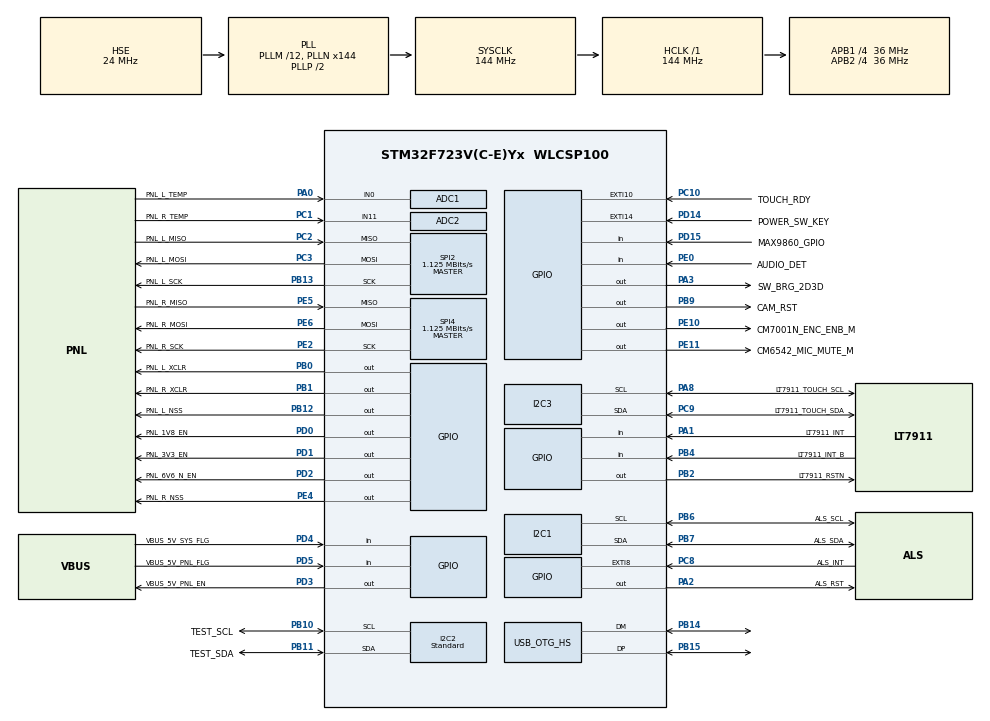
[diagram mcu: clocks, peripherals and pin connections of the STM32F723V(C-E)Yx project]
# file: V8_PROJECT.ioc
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ADC1.Channel-0\#ChannelRegularConversion=ADC_CHANNEL_0
ADC1.ClockPrescaler=ADC_CLOCK_SYNC_PCLK_DIV4
ADC1.NbrOfConversionFlag=1
ADC1.Rank-0\#ChannelRegularConversion=1
ADC1.SamplingTime-0\#ChannelRegularConversion=ADC_SAMPLETIME_3CYCLES
ADC1.master=1
ADC2.Channel-0\#ChannelRegularConversion=ADC_CHANNEL_11
ADC2.ClockPrescaler=ADC_CLOCK_SYNC_PCLK_DIV4
ADC2.NbrOfConversionFlag=1
ADC2.Rank-0\#ChannelRegularConversion=1
ADC2.SamplingTime-0\#ChannelRegularConversion=ADC_SAMPLETIME_3CYCLES
CORTEX_M7.CPU_DCache=Enabled
CORTEX_M7.CPU_ICache=Enabled
CORTEX_M7.DisableExec-Cortex_Memory_Protection_Unit_Region0_Settings=MPU_INSTRUCTION_ACCESS_DISABLE
CORTEX_M7.Enable-Cortex_Memory_Protection_Unit_Region0_Settings=MPU_REGION_ENABLE
CORTEX_M7.IsShareable-Cortex_Memory_Protection_Unit_Region0_Settings=MPU_ACCESS_SHAREABLE
CORTEX_M7.MPU_Control=MPU_HFNMI_PRIVDEF
CORTEX_M7.Size-Cortex_Memory_Protection_Unit_Region0_Settings=MPU_REGION_SIZE_4GB
CORTEX_M7.SubRegionDisable-Cortex_Memory_Protection_Unit_Region0_Settings=0x87
FREERTOS.Tasks01=defaultTask,24,512,StartDefaultTask,Default,NULL,Dynamic,NULL,NULL
FREERTOS.configENABLE_FPU=1
FREERTOS.configMINIMAL_STACK_SIZE=512
FREERTOS.configTOTAL_HEAP_SIZE=65536
FREERTOS.configUSE_NEWLIB_REENTRANT=1
FREERTOS.configUSE_POSIX_ERRNO=1
I2C1.Timing=0x00808CD2
I2C2.I2C_Speed_Mode=I2C_Standard
I2C2.Speed=100
I2C2.Timing=0x00808CD2
I2C3.Timing=0x00808CD2
Mcu.Family=STM32F7
Mcu.Name=STM32F723V(C-E)Yx
Mcu.Package=WLCSP100
NVIC.EXTI15_10_IRQn=true\:5\:0\:false\:false\:true\:true\:true\:true\:true
NVIC.EXTI9_5_IRQn=true\:5\:0\:false\:false\:true\:true\:true\:true\:true
NVIC.I2C1_EV_IRQn=true\:5\:0\:false\:false\:true\:true\:true\:true\:true
NVIC.I2C2_EV_IRQn=true\:5\:0\:false\:false\:true\:true\:true\:true\:true
NVIC.I2C3_EV_IRQn=true\:5\:0\:false\:false\:true\:true\:true\:true\:true
NVIC.OTG_HS_IRQn=true\:5\:0\:false\:false\:true\:true\:false\:true\:true
NVIC.PriorityGroup=NVIC_PRIORITYGROUP_4
NVIC.TIM1_UP_TIM10_IRQn=true\:15\:0\:false\:false\:true\:false\:false\:true\:true
NVIC.TIM8_UP_TIM13_IRQn=true\:5\:0\:false\:false\:true\:true\:true\:true\:true
NVIC.TimeBase=TIM1_UP_TIM10_IRQn
NVIC.TimeBaseIP=TIM10
PA0-WKUP.GPIO_Label=PNL_L_TEMP
PA0-WKUP.Signal=ADCx_IN0
PA1.GPIO_Label=LT7911_INT
PA1.GPIO_PuPd=GPIO_PULLDOWN
PA1.Signal=GPIO_Input
PA13.Mode=Serial_Wire
PA13.Signal=SYS_JTMS-SWDIO
PA14.Mode=Serial_Wire
PA14.Signal=SYS_JTCK-SWCLK
PA2.GPIO_Label=ALS_RST
PA2.Signal=GPIO_Output
PA3.GPIO_Label=SW_BRG_2D3D
PA3.Signal=GPIO_Output
PA8.GPIO_Label=LT7911_TOUCH_SCL
PA8.GPIO_Pu=GPIO_PULLUP
PA8.Mode=I2C
PA8.Signal=I2C3_SCL
PB0.GPIO_Label=PNL_L_XCLR
PB0.Signal=GPIO_Output
PB1.GPIO_Label=PNL_R_XCLR
PB1.Signal=GPIO_Output
PB10.GPIO_Label=TEST_SCL
PB10.GPIO_Pu=GPIO_PULLUP
PB10.Mode=I2C
PB10.Signal=I2C2_SCL
PB11.GPIO_Label=TEST_SDA
PB11.GPIO_Pu=GPIO_PULLUP
PB11.Mode=I2C
PB11.Signal=I2C2_SDA
PB12.GPIO_Label=PNL_L_NSS
PB12.GPIO_Speed=GPIO_SPEED_FREQ_VERY_HIGH
PB12.Signal=GPIO_Output
PB13.GPIO_Label=PNL_L_SCK
PB13.Mode=Full_Duplex_Master
PB13.Signal=SPI2_SCK
PB14.Mode=Internal_Phy_Device
PB14.Signal=USB_OTG_HS_DM
PB15.Mode=Internal_Phy_Device
PB15.Signal=USB_OTG_HS_DP
PB2.GPIO_Label=LT7911_RSTN
PB2.Signal=GPIO_Output
PB4.GPIO_Label=LT7911_INT_B
PB4.GPIO_PuPd=GPIO_PULLDOWN
PB4.Signal=GPIO_Input
PB6.GPIO_Label=ALS_SCL
PB6.GPIO_Pu=GPIO_PULLUP
PB6.Mode=I2C
PB6.Signal=I2C1_SCL
PB7.GPIO_Label=ALS_SDA
PB7.GPIO_Pu=GPIO_PULLUP
PB7.Mode=I2C
PB7.Signal=I2C1_SDA
PB9.GPIO_Label=CAM_RST
PB9.Signal=GPIO_Output
PC1.GPIO_Label=PNL_R_TEMP
PC1.Signal=ADCx_IN11
PC14-OSC32_IN.Mode=LSE-External-Oscillator
PC10.GPIO_Label=TOUCH_RDY
PC10.GPIO_ModeDefaultEXTI=GPIO_MODE_IT_FALLING
PC10.GPIO_PuPd=GPIO_PULLUP
PC10.Signal=GPXTI10
PC14-OSC32_IN.Signal=RCC_OSC32_IN
PC15-OSC32_OUT.Mode=LSE-External-Oscillator
PC15-OSC32_OUT.Signal=RCC_OSC32_OUT
PC2.GPIO_Label=PNL_L_MISO
PC2.Mode=Full_Duplex_Master
PC2.Signal=SPI2_MISO
PC3.GPIO_Label=PNL_L_MOSI
PC3.Mode=Full_Duplex_Master
PC3.Signal=SPI2_MOSI
PC8.GPIO_Label=ALS_INT
PC8.GPIO_ModeDefaultEXTI=GPIO_MODE_IT_FALLING
PC8.Signal=GPXTI8
PC9.GPIO_Label=LT7911_TOUCH_SDA
PC9.GPIO_Pu=GPIO_PULLUP
PC9.Mode=I2C
PC9.Signal=I2C3_SDA
PD0.GPIO_Label=PNL_1V8_EN
PD0.Signal=GPIO_Output
PD1.GPIO_Label=PNL_3V3_EN
PD1.Signal=GPIO_Output
PD14.GPIO_Label=POWER_SW_KEY
PD14.GPIO_ModeDefaultEXTI=GPIO_MODE_IT_FALLING
PD14.GPIO_PuPd=GPIO_PULLUP
PD14.Signal=GPXTI14
PD15.GPIO_Label=MAX9860_GPIO
PD15.GPIO_PuPd=GPIO_PULLDOWN
PD15.Signal=GPIO_Input
PD2.GPIO_Label=PNL_6V6_N_EN
PD2.Signal=GPIO_Output
PD3.GPIO_Label=VBUS_5V_PNL_EN
PD3.Signal=GPIO_Output
PD4.GPIO_Label=VBUS_5V_SYS_FLG
PD4.GPIO_PuPd=GPIO_PULLDOWN
PD4.Signal=GPIO_Input
PD5.GPIO_Label=VBUS_5V_PNL_FLG
PD5.GPIO_PuPd=GPIO_PULLDOWN
PD5.Signal=GPIO_Input
PE0.GPIO_Label=AUDIO_DET
PE0.GPIO_PuPd=GPIO_PULLDOWN
PE0.Signal=GPIO_Input
PE10.GPIO_Label=CM7001N_ENC_ENB_M
PE10.Signal=GPIO_Output
PE11.GPIO_Label=CM6542_MIC_MUTE_M
PE11.Signal=GPIO_Output
PE2.GPIO_Label=PNL_R_SCK
PE2.Mode=Full_Duplex_Master
PE2.Signal=SPI4_SCK
PE4.GPIO_Label=PNL_R_NSS
PE4.GPIO_Speed=GPIO_SPEED_FREQ_VERY_HIGH
PE4.Signal=GPIO_Output
PE5.GPIO_Label=PNL_R_MISO
PE5.Mode=Full_Duplex_Master
PE5.Signal=SPI4_MISO
PE6.GPIO_Label=PNL_R_MOSI
PE6.Mode=Full_Duplex_Master
PE6.Signal=SPI4_MOSI
PH0-OSC_IN.Mode=HSE-External-Oscillator
PH0-OSC_IN.Signal=RCC_OSC_IN
PH1-OSC_OUT.Mode=HSE-External-Oscillator
PH1-OSC_OUT.Signal=RCC_OSC_OUT
ProjectManager.HeapSize=0x200
ProjectManager.StackSize=0x400
ProjectManager.TargetToolchain=STM32CubeIDE
RCC.AHBFreq_Value=144000000
RCC.APB1CLKDivider=RCC_HCLK_DIV4
RCC.APB1Freq_Value=36000000
RCC.APB1TimFreq_Value=72000000
RCC.APB2CLKDivider=RCC_HCLK_DIV4
RCC.APB2Freq_Value=36000000
RCC.APB2TimFreq_Value=72000000
RCC.CortexFreq_Value=144000000
RCC.HCLKFreq_Value=144000000
RCC.HSE_VALUE=24000000
RCC.HSI_VALUE=16000000
RCC.PLLM=12
RCC.PLLN=144
RCC.PLLQ=6
RCC.SYSCLKFreq_VALUE=144000000
RCC.SYSCLKSource=RCC_SYSCLKSOURCE_PLLCLK
RCC.USBFreq_Value=48000000
RCC.VCOOutputFreq_Value=288000000
REXTPHYHS.Mode=Internal_Phy_Device
REXTPHYHS.Signal=USB_OTG_HS_REXTPHYHS
SH.ADCx_IN0.0=ADC1_IN0,IN0
SH.ADCx_IN11.0=ADC2_IN11,IN11
SPI2.BaudRatePrescaler=SPI_BAUDRATEPRESCALER_32
SPI2.CalculateBaudRate=1.125 MBits/s
SPI2.DataSize=SPI_DATASIZE_8BIT
SPI2.Direction=SPI_DIRECTION_2LINES
SPI2.FirstBit=SPI_FIRSTBIT_LSB
SPI2.Mode=SPI_MODE_MASTER
SPI2.VirtualType=VM_MASTER
SPI4.BaudRatePrescaler=SPI_BAUDRATEPRESCALER_32
SPI4.CalculateBaudRate=1.125 MBits/s
SPI4.DataSize=SPI_DATASIZE_8BIT
SPI4.Direction=SPI_DIRECTION_2LINES
SPI4.FirstBit=SPI_FIRSTBIT_LSB
SPI4.Mode=SPI_MODE_MASTER
SPI4.VirtualType=VM_MASTER
TIM13.Period=1079
USB_DEVICE.CLASS_NAME_HS=CDC
USB_DEVICE.USBD_LPM_ENABLED-CDC_HS=0
USB_DEVICE.USBD_SELF_POWERED-CDC_HS=0
USB_DEVICE.VirtualMode-CDC_HS=Cdc
USB_DEVICE.VirtualModeHS=Cdc_HS
USB_OTG_HS.VirtualMode=Int_Phy_Device
VP_FREERTOS_VS_CMSIS_V2.Mode=CMSIS_V2
VP_SYS_VS_tim10.Mode=TIM10
VP_TIM13_VS_ClockSourceINT.Mode=Enable_Timer
VP_USB_DEVICE_VS_USB_DEVICE_CDC_HS.Mode=CDC_HS
board=custom

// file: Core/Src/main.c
/* USER CODE BEGIN Header */
/**
  ******************************************************************************
  * @file           : main.c
  * @brief          : Main program body
  ******************************************************************************
  * @attention
  *
  * Copyright (c) 2024 STMicroelectronics.
  * All rights reserved.
  *
  * This software is licensed under terms that can be found in the LICENSE file
  * in the root directory of this software component.
  * If no LICENSE file comes with this software, it is provided AS-IS.
  *
  ******************************************************************************
  */
/* USER CODE END Header */
#include "main.h"
#include "cmsis_os.h"
#include "adc.h"
#include "i2c.h"
#include "spi.h"
#include "tim.h"
#include "usb_device.h"
#include "gpio.h"

/* USER CODE BEGIN Includes */
#include <math.h>
#include "stm32f7xx_hal_tim.h"
#include "debug_defs.h"
#include "cmd_engine.h"
#include "bno080.h"

#include "usbd_composite.h"
#include "usbd_cdc.h"
#include "usbd_cdc_devctlr.h"
#include "usbd_customhid.h"
#include "usbd_customhid_sensor.h"
#include "usbd_custom_hid_sensor_if.h"

#include "flash_rw_process.h"
#include "ecx343.h"
#include "rpr0521.h"
#include "al3010.h"

/* USER CODE END Includes */

/* USER CODE BEGIN PV */
extern I2C_HandleTypeDef hi2c1;
extern I2C_HandleTypeDef hi2c2;
extern I2C_HandleTypeDef hi2c3;
extern USBD_HandleTypeDef hUsbDeviceHS;
extern osThreadId_t TouchTaskHandle;
extern osThreadId_t ALSensorTaskHandle;
extern osThreadId_t PSensorTaskHandle;

// Interrupt Management
uint32_t nBno08xGpioInts = 0;
uint32_t nAlsGpioInts = 0;
uint32_t nPsGpioInts = 0;
uint32_t nTofGpioInts_1 = 0;

// IMU Communication Management
uint32_t nIMUHIDUsbOuts = 0;
uint32_t nUsbfailed = 0;
uint32_t nUsbBusy = 0;
uint8_t Button_Log = 0u;
uint8_t Touchpad_OtherGesture_Log = 0u;

// ToF Sensor Management
uint8_t  interruptTofEnable = 0;
uint16_t tofResetCount = 0;
uint32_t nExecs_IsrToF = 0;
/* USER CODE END PV */

void SystemClock_Config(void);
static void MPU_Config(void);
void MX_FREERTOS_Init(void);

/* USER CODE BEGIN 0 */
void boot_UserDFU(void)
{
    USBD_Stop(&hUsbDeviceHS);
    HAL_Delay(100);
    USBD_DeInit(&hUsbDeviceHS);
    HAL_Delay(100);

    SCB_DisableICache();
    SCB_DisableDCache();
    *((unsigned long *)0x20017FF0) = 0xDEADBEEF; // 256KB STM32F723

    __DSB();
    __ISB();

    __DSB();

    NVIC_SystemReset();
    /* Should never reach!!! */
    while(1);
}

void McuReset(void)
{
    USBD_Stop(&hUsbDeviceHS);
    HAL_Delay(100);
    USBD_DeInit(&hUsbDeviceHS);
    HAL_Delay(100);

    SCB_DisableICache();
    SCB_DisableDCache();
    __DSB();
    __ISB();

    __DSB();

    NVIC_SystemReset();
    /* Should never reach!!! */
    while(1);
}
/* USER CODE END 0 */

int main(void)
{

  /* MPU Configuration--------------------------------------------------------*/
  MPU_Config();
  /* Enable the CPU Cache */

  /* Enable I-Cache---------------------------------------------------------*/
  SCB_EnableICache();

  /* Enable D-Cache---------------------------------------------------------*/
  SCB_EnableDCache();

  /* MCU Configuration--------------------------------------------------------*/

  /* Reset of all peripherals, Initializes the Flash interface and the Systick. */
  HAL_Init();

  /* Configure the system clock */
  SystemClock_Config();

  /* Initialize all configured peripherals */
  MX_GPIO_Init();
  MX_I2C3_Init();
  MX_SPI2_Init();
  MX_SPI4_Init();
#if defined DEBUG
  MX_TIM13_Init();
#endif
  MX_ADC1_Init();
  MX_ADC2_Init();
  MX_I2C1_Init();
  MX_I2C2_Init();

  /* Init scheduler */
  osKernelInitialize();

  /* Call init function for freertos objects (in freertos.c) */
  MX_FREERTOS_Init();

  /* Start scheduler */
  osKernelStart();

  /* We should never get here as control is now taken by the scheduler */
  /* Infinite loop */
  while (1)
  {

  }
}

void SystemClock_Config(void)
{
  RCC_OscInitTypeDef RCC_OscInitStruct = {0};
  RCC_ClkInitTypeDef RCC_ClkInitStruct = {0};
  RCC_PeriphCLKInitTypeDef PeriphClkInitStruct = {0};
  /** Configure LSE Drive Capability
  */
  HAL_PWR_EnableBkUpAccess();

  /** Configure the main internal regulator output voltage
  */
  __HAL_RCC_PWR_CLK_ENABLE();
  __HAL_PWR_VOLTAGESCALING_CONFIG(PWR_REGULATOR_VOLTAGE_SCALE3);

  /** Initializes the RCC Oscillators according to the specified parameters
  * in the RCC_OscInitTypeDef structure.
  */
  RCC_OscInitStruct.OscillatorType = RCC_OSCILLATORTYPE_HSE;
  RCC_OscInitStruct.HSEState = RCC_HSE_ON;
  RCC_OscInitStruct.PLL.PLLState = RCC_PLL_ON;
  RCC_OscInitStruct.PLL.PLLSource = RCC_PLLSOURCE_HSE;
  RCC_OscInitStruct.PLL.PLLM = 12;
  RCC_OscInitStruct.PLL.PLLN = 144;
  RCC_OscInitStruct.PLL.PLLP = RCC_PLLP_DIV2;
  RCC_OscInitStruct.PLL.PLLQ = 6;
  if (HAL_RCC_OscConfig(&RCC_OscInitStruct) != HAL_OK)
  {
    Error_Handler();
  }

  /** Initializes the CPU, AHB and APB buses clocks
  */
  RCC_ClkInitStruct.ClockType = RCC_CLOCKTYPE_HCLK|RCC_CLOCKTYPE_SYSCLK
                              |RCC_CLOCKTYPE_PCLK1|RCC_CLOCKTYPE_PCLK2;
  RCC_ClkInitStruct.SYSCLKSource = RCC_SYSCLKSOURCE_PLLCLK;
  RCC_ClkInitStruct.AHBCLKDivider = RCC_SYSCLK_DIV1;
  RCC_ClkInitStruct.APB1CLKDivider = RCC_HCLK_DIV4;
  RCC_ClkInitStruct.APB2CLKDivider = RCC_HCLK_DIV4;

  if (HAL_RCC_ClockConfig(&RCC_ClkInitStruct, FLASH_LATENCY_4) != HAL_OK)
  {
    Error_Handler();
  }
  PeriphClkInitStruct.PeriphClockSelection = RCC_PERIPHCLK_I2C1|RCC_PERIPHCLK_I2C2
                              |RCC_PERIPHCLK_I2C3|RCC_PERIPHCLK_CLK48;
  PeriphClkInitStruct.I2c1ClockSelection = RCC_I2C1CLKSOURCE_PCLK1;
  PeriphClkInitStruct.I2c2ClockSelection = RCC_I2C2CLKSOURCE_PCLK1;
  PeriphClkInitStruct.I2c3ClockSelection = RCC_I2C3CLKSOURCE_PCLK1;
  PeriphClkInitStruct.Clk48ClockSelection = RCC_CLK48SOURCE_PLL;
  if (HAL_RCCEx_PeriphCLKConfig(&PeriphClkInitStruct) != HAL_OK)
  {
    Error_Handler();
  }
}

/* USER CODE BEGIN 4 */

/**
  * @brief  EXTI line detection callback.
  * @param  GPIO_Pin Specifies the port pin connected to corresponding EqXTI line.
  * @retval None
  */
void HAL_GPIO_EXTI_Callback(uint16_t GPIO_Pin)
{
	usbDebug("s+ \r\n", __func__);

#if ENABLE_POWER_BUTTON_IRQ
  /* NOTE : add the specific code to handle the wake up button interrupt */
  if(GPIO_Pin == POWER_SW_KEY_Pin)
  {
	   usbDebug("Power button wake up! \r\n", __func__);
  }
#endif

//   if(IMU_INTN_Pin == GPIO_Pin)
//   {
//       SH2_GPIO_EXTI_Callback( GPIO_Pin);
//       // nBno08xGpioInts += 1;
//   }
#if ENABLE_TOUCH
    if (GPIO_Pin == TOUCH_RDY_Pin)
    {
      BaseType_t xHigherPriorityTaskWoken = pdFALSE;

      if (TouchTaskHandle) {
        vTaskNotifyGiveFromISR(TouchTaskHandle, &xHigherPriorityTaskWoken);
        portYIELD_FROM_ISR(xHigherPriorityTaskWoken);
      }
    }
#endif
#if ENABLE_ALS
    else if(ALS_INT_Pin == GPIO_Pin)
    {
        osThreadFlagsSet(ALSensorTaskHandle, ALS_EVT_FLAG);
        // nAlsGpioInts += 1;
    }
#endif
#if ENABLE_PS
    else if(PS_INT_Pin == GPIO_Pin)
    {
        osThreadFlagsSet(PSensorTaskHandle, PS_EVT_FLAG);
        // nPsGpioInts += 1;
    }
#endif
#if ENABLE_TOF
    else if(GPIO_Pin == TOF_INT_Pin)
    {
        nTofGpioInts_1 = 0;
        isrToFTaskTrigger();
    }
#endif
}
// redirect printf() to USB CDC_DEVCTLR
PUTCHAR_PROTOTYPE
{
#ifdef PRINTF_VIA_CDC_ENABLED
  #if USE_USB_TX_TASK
    usbDebugChars( &ch, 1);
  #else
    #error "CAN NOT use direct USB TX because freeRTOS is ON!!!"
  #endif
#endif
    return ch;
}
/* USER CODE END 4 */

/* MPU Configuration */

void MPU_Config(void)
{
  MPU_Region_InitTypeDef MPU_InitStruct = {0};

  /* Disables the MPU */
  HAL_MPU_Disable();

  /** Initializes and configures the Region and the memory to be protected
  */
  MPU_InitStruct.Enable = MPU_REGION_ENABLE;
  MPU_InitStruct.Number = MPU_REGION_NUMBER0;
  MPU_InitStruct.BaseAddress = 0x0;
  MPU_InitStruct.Size = MPU_REGION_SIZE_4GB;
  MPU_InitStruct.SubRegionDisable = 0x87;
  MPU_InitStruct.TypeExtField = MPU_TEX_LEVEL0;
  MPU_InitStruct.AccessPermission = MPU_REGION_NO_ACCESS;
  MPU_InitStruct.DisableExec = MPU_INSTRUCTION_ACCESS_DISABLE;
  MPU_InitStruct.IsShareable = MPU_ACCESS_SHAREABLE;
  MPU_InitStruct.IsCacheable = MPU_ACCESS_NOT_CACHEABLE;
  MPU_InitStruct.IsBufferable = MPU_ACCESS_NOT_BUFFERABLE;

  HAL_MPU_ConfigRegion(&MPU_InitStruct);
  /* Enables the MPU */
  HAL_MPU_Enable(MPU_HFNMI_PRIVDEF);

}

void HAL_TIM_PeriodElapsedCallback(TIM_HandleTypeDef *htim)
{
  if (htim->Instance == TIM10) {
    HAL_IncTick();
  }
}

void Error_Handler(void)
{
  __disable_irq();
  while (1)
  {
  }
}

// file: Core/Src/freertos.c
/* USER CODE BEGIN Header */
/**
 ******************************************************************************
 * File Name          : freertos.c
 * Description        : Code for freertos applications
 ******************************************************************************
 * @attention
 *
 * Copyright (c) 2024 STMicroelectronics.
 * All rights reserved.
 *
 * This software is licensed under terms that can be found in the LICENSE file
 * in the root directory of this software component.
 * If no LICENSE file comes with this software, it is provided AS-IS.
 *
 ******************************************************************************
 */
/* USER CODE END Header */

#include "FreeRTOS.h"
#include "task.h"
#include "main.h"
#include "cmsis_os.h"

/* USER CODE BEGIN Includes */
#include "portmacro.h"
#include "timers.h"
#include "semphr.h"

#include "i2c.h"

#include "debug_defs.h"
#include "cmd_engine.h"
#include "usbd_composite.h"
#include "usbd_cdc.h"
#include "usbd_cdc_devctlr.h"
#include "usbd_customhid.h"
#include "usbd_customhid_sensor.h"
#include "usbd_custom_hid_sensor_if.h"

#include "al3010.h"
#include "rpr0521.h"
#include "lt7911.h"
#include "ecx343.h"
#include "usb.h"
#include "bno080.h"
#include "vl53l8cx_api.h"
#include "button_handling.h"
#include "iqs7211e.h"

/* USER CODE END Includes */

typedef StaticTask_t osStaticThreadDef_t;

/* USER CODE BEGIN PD */
#define I2C_BUS             	(&hi2c1)
#define PROXIMITY_THRESHOLD 	300
#define OFF_DEBOUNCE_THRESHOLD 	pdMS_TO_TICKS(5000)
#define ON_DEBOUNCE_THRESHOLD 	pdMS_TO_TICKS(1000)
/* USER CODE END PD */

/* USER CODE BEGIN Variables */
extern I2C_HandleTypeDef hi2c1;
extern I2C_HandleTypeDef hi2c2;
extern I2C_HandleTypeDef hi2c3;
extern TIM_HandleTypeDef htim13;
extern ECX343_DATA ecx343_current_data;
VL53L8CX_Configuration Dev;
uint8_t isDebugModeEnabled = 0;
uint8_t isAutoBrightnessEnabled = 0;
uint8_t isHighTempBrightnessEnabled = 1;

uint8_t encSwitch = 0;
uint8_t micSwitch = 0;
uint8_t alsSwitch = 0;

uint8_t isPanelOn = 0;

static SemaphoreHandle_t I2C1_Lock;
static SemaphoreHandle_t I2C3_Lock;
static SemaphoreHandle_t isrToFLock;
volatile unsigned long ulHighFrequencyTimerTicks;
/* USER CODE END Variables */
/* Definitions for UsbTxTask */
osThreadId_t UsbTxTaskHandle;
uint32_t UsbTxTaskBuffer[2048];
osStaticThreadDef_t UsbTxTaskControlBlock;
const osThreadAttr_t UsbTxTask_attributes =
{ .name = "UsbTxTask", .cb_mem = &UsbTxTaskControlBlock, .cb_size =
		sizeof(UsbTxTaskControlBlock), .stack_mem = &UsbTxTaskBuffer[0],
		.stack_size = sizeof(UsbTxTaskBuffer), .priority =
				(osPriority_t) osPriorityHigh, };

/* Definitions for TofTask */
osThreadId_t TofTaskHandle;
uint32_t ToFTaskBuffer[2048];
osStaticThreadDef_t ToFTaskControlBlock;
const osThreadAttr_t TofTask_attributes =
{ .name = "TofTask", .cb_mem = &ToFTaskControlBlock, .cb_size =
		sizeof(ToFTaskControlBlock), .stack_mem = &ToFTaskBuffer[0],
		.stack_size = sizeof(ToFTaskBuffer), .priority =
				(osPriority_t) osPriorityAboveNormal, };

/* Definitions for ImuSensorTask */
osThreadId_t ImuSensorTaskHandle;
uint32_t ImuSensorTaskBuffer[2048];
osStaticThreadDef_t ImuSensorTaskControlBlock;
const osThreadAttr_t ImuSensorTask_attributes =
{ .name = "ImuSensorTask", .cb_mem = &ImuSensorTaskControlBlock, .cb_size =
		sizeof(ImuSensorTaskControlBlock), .stack_mem = &ImuSensorTaskBuffer[0],
		.stack_size = sizeof(ImuSensorTaskBuffer), .priority =
				(osPriority_t) osPriorityAboveNormal, };

/* Definitions for PSensorTask */
osThreadId_t PSensorTaskHandle;
uint32_t PSensorTaskBuffer[512];
osStaticThreadDef_t PSensorTaskControlBlock;
const osThreadAttr_t PSensorTask_attributes =
{ .name = "PSensorTask", .cb_mem = &PSensorTaskControlBlock, .cb_size =
		sizeof(PSensorTaskControlBlock), .stack_mem = &PSensorTaskBuffer[0],
		.stack_size = sizeof(PSensorTaskBuffer), .priority =
				(osPriority_t) osPriorityNormal, };

/* Definitions for TouchTask */
osThreadId_t TouchTaskHandle;
uint32_t TouchTaskBuffer[512];
osStaticThreadDef_t TouchTaskControlBlock;
const osThreadAttr_t TouchTask_attributes =
{ .name = "TouchTask", .cb_mem = &TouchTaskControlBlock, .cb_size =
		sizeof(TouchTaskControlBlock), .stack_mem = &TouchTaskBuffer[0],
		.stack_size = sizeof(TouchTaskBuffer), .priority =
				(osPriority_t) osPriorityNormal, };

/* Definitions for ALSensorTask */
osThreadId_t ALSensorTaskHandle;
uint32_t ALSensorTaskBuffer[512];
osStaticThreadDef_t ALSensorTaskControlBlock;
const osThreadAttr_t ALSensorTask_attributes =
{ .name = "ALSensorTask", .cb_mem = &ALSensorTaskControlBlock, .cb_size =
		sizeof(ALSensorTaskControlBlock), .stack_mem = &ALSensorTaskBuffer[0],
		.stack_size = sizeof(ALSensorTaskBuffer), .priority =
				(osPriority_t) osPriorityNormal, };

/* Definitions for ADCTask */
osThreadId_t ADCTaskHandle;
uint32_t ADCTaskBuffer[512];
osStaticThreadDef_t ADCTaskControlBlock;
const osThreadAttr_t ADCTask_attributes =
{ .name = "ADCTask", .cb_mem = &ADCTaskControlBlock, .cb_size =
		sizeof(ADCTaskControlBlock), .stack_mem = &ADCTaskBuffer[0],
		.stack_size = sizeof(ADCTaskBuffer), .priority =
				(osPriority_t) osPriorityNormal, };

/* Definitions for I2CScanTask */
osThreadId_t I2CScanTaskHandle;
uint32_t I2CScanTaskBuffer[512];
osStaticThreadDef_t I2CScanTaskControlBlock;
const osThreadAttr_t I2CScanTask_attributes =
{ .name = "I2CScanTask", .cb_mem = &I2CScanTaskControlBlock, .cb_size =
		sizeof(I2CScanTaskControlBlock), .stack_mem = &I2CScanTaskBuffer[0],
		.stack_size = sizeof(I2CScanTaskBuffer), .priority =
				(osPriority_t) osPriorityNormal, };

/* Definitions for MainTask */
osThreadId_t MainTaskHandle;
uint32_t MainTaskBuffer[512];
osStaticThreadDef_t MainTaskControlBlock;
const osThreadAttr_t MainTask_attributes =
{ .name = "MainTask", .cb_mem = &MainTaskControlBlock, .cb_size =
		sizeof(MainTaskControlBlock), .stack_mem = &MainTaskBuffer[0],
		.stack_size = sizeof(MainTaskBuffer), .priority =
				(osPriority_t) osPriorityNormal, };

#if ENABLE_COUNTING_TASK
osThreadId_t CountingTaskHandle;
uint32_t CountingTaskBuffer[512];
osStaticThreadDef_t CountingTaskControlBlock;
const osThreadAttr_t CountingTask_attributes =
{ .name = "CountingTask", .cb_mem = &CountingTaskControlBlock, .cb_size =
        sizeof(CountingTaskControlBlock), .stack_mem = &CountingTaskBuffer[0],
        .stack_size = sizeof(CountingTaskBuffer), .priority =
                (osPriority_t) osPriorityNormal, };
#endif

/* USER CODE BEGIN FunctionPrototypes */
void configureTimerForRunTimeStats(void);
unsigned long getRunTimeCounterValue(void);
static inline void i2c1TxBlock(void);
static inline void i2c1TxUnblock(void);
static inline void i2c3TxBlock(void);
static inline void i2c3TxUnblock(void);

void checkAndReduceBrightness(uint32_t *startTime, uint32_t *lastHighTempTime);
void ResetTof(void);
void Tof_Hard_reset(void);
/* USER CODE END FunctionPrototypes */

void StartUsbTxTask(void *argument);
void StartTofTask(void *argument);
void StartImuSensorTask(void *argument);
void StartPSensorTask(void *argument);
void StartTouchTask(void *argument);
void StartALSensorTask(void *argument);
void StartADCTask(void *argument);
void StartI2CScanTask(void *argument);
void StartMainTask(void *argument);
void CountingTask(void *argument);

extern void MX_USB_DEVICE_Init(void);
void MX_FREERTOS_Init(void); /* (MISRA C 2004 rule 8.1) */

void MX_FREERTOS_Init(void)
{

	/* Create the thread(s) */
	/* creation of UsbTxTask */
	UsbTxTaskHandle = osThreadNew(StartUsbTxTask, NULL, &UsbTxTask_attributes);

}

void StartUsbTxTask(void *argument)
{
	/* init code for USB_DEVICE */
	HAL_GPIO_WritePin(ALS_RST_GPIO_Port, ALS_RST_Pin, GPIO_PIN_SET);
	HAL_GPIO_WritePin(CAM_RST_GPIO_Port, CAM_RST_Pin, GPIO_PIN_SET);
//	HAL_GPIO_WritePin(TOF_EN_GPIO_Port, TOF_EN_Pin, GPIO_PIN_SET);
	osDelay(500);

	HAL_GPIO_WritePin(LT7911_RSTN_GPIO_Port, LT7911_RSTN_Pin, GPIO_PIN_SET);

	usbInit();

	MX_USB_DEVICE_Init();
	osDelay(1000);

	/* creation of ImuSensorTask */
#if ENABLE_IMU
	ImuSensorTaskHandle = osThreadNew(StartImuSensorTask, NULL, &ImuSensorTask_attributes);
#endif
	I2C1_Lock = xSemaphoreCreateBinary();
	if (I2C1_Lock != NULL)
	{
		xSemaphoreGive(I2C1_Lock);
	}

	I2C3_Lock = xSemaphoreCreateBinary();
	if (I2C3_Lock != NULL)
	{
		xSemaphoreGive(I2C3_Lock);
	}

	/* creation of MainTask */
	MainTaskHandle = osThreadNew(StartMainTask, NULL, &MainTask_attributes);

	/* USER CODE BEGIN StartUsbTxTask */
	/* Infinite loop */
	usbLoop();

	/* USER CODE END StartUsbTxTask */
}

#if ENABLE_TOF
void StartTofTask(void *argument)
{
	/* USER CODE BEGIN StartTofTask */
	static VL53L8CX_ResultsData Results;
	uint8_t resolution;
	uint8_t status;
	TickType_t timestamp;
	ResetTof();

	/* Infinite loop */
	for (;;)
	{
		// Wait until isr triggered.
		xSemaphoreTake(isrToFLock, portMAX_DELAY);

		/* Do ToF Get data. */
		nExecs_IsrToF += 1;
		if (bRangePacketUpdated)
			continue;

		status = vl53l8cx_get_resolution(&Dev, &resolution);
		status = vl53l8cx_get_ranging_data(&Dev, &Results);
#if ENABLE_TOF_DEBUG
		for (int i = 0; i < resolution; i++)
		{
			/* Print per zone results */
			usbDebug(
					"Zone : %2d, Nb targets : %2u, Ambient : %4lu Kcps/spads, \r\n",
					i, Results.nb_target_detected[i],
					Results.ambient_per_spad[i]);

			/* Print per target results */
			if (Results.nb_target_detected[i] > 0)
			{
				usbDebug("Target status : %3u, Distance : %4d mm \r\n",
						Results.target_status[VL53L8CX_NB_TARGET_PER_ZONE * i],
						Results.distance_mm[VL53L8CX_NB_TARGET_PER_ZONE * i]);
			}
			else
			{
				usbDebug("Target status : 255, Distance : No target\r\n");
			}
		}
		usbDebug("\r\n");
#else
		/*GOTO ToF CDC Process*/
		timestamp = xTaskGetTickCount();
		tof_ranging_callback(&Results, timestamp);
#if ENABLE_STACK_CHECK
		//test: check high water
		UBaseType_t uxHighWaterMark;
		if (nExecs_IsrToF % 100 == 0)
		{
			uxHighWaterMark = uxTaskGetStackHighWaterMark(NULL);
			usbDebug("ToF_task free stack：%lu\n", uxHighWaterMark);
		}
#endif
	}
#endif
	/* USER CODE END StartTofTask */
}
#endif

#if ENABLE_IMU
void StartImuSensorTask(void *argument)
{
	/* USER CODE BEGIN StartImuSensorTask */
	HAL_GPIO_WritePin(IMU_RST_GPIO_Port, IMU_RST_Pin, GPIO_PIN_SET);
	osDelay(1000);

	initSensor();
	/* Infinite loop */
	sensorLoop();
	/* USER CODE END StartImuSensorTask */
}
#endif

#if ENABLE_PS
void StartPSensorTask(void *argument)
{
	/* USER CODE BEGIN StartPSensorTask */
	uint8_t task_count = 0;
	uint16_t proximity_value = 0;
	static TickType_t lastTransitionTick = 0;

	/* Infinite loop */
	for (;;)
	{
		uint32_t thread_event_flag = osThreadFlagsWait(PS_EVT_FLAG, osFlagsNoClear, osWaitForever);
		if (thread_event_flag == PS_EVT_FLAG)
		{
			if (xSemaphoreTake(I2C1_Lock, portMAX_DELAY) == pdTRUE)
			{
				proximity_value = RPR0521_ReadPS();
				i2c1TxUnblock();

				bool isObjectDetected = (proximity_value > PROXIMITY_THRESHOLD) ? true : false;

				if (isObjectDetected != isPanelOn)
				{
					TickType_t currentTick = xTaskGetTickCount();
					TickType_t debounceThreshold = isPanelOn ? OFF_DEBOUNCE_THRESHOLD : ON_DEBOUNCE_THRESHOLD;

					if ((currentTick - lastTransitionTick) >= debounceThreshold)
					{
						isPanelOn = !isPanelOn;
						isPanelOn ? executeTaskWithMutex(POWER_ON, PANEL_BOTH) : executeTaskWithMutex(POWER_OFF, PANEL_BOTH);
						lastTransitionTick = currentTick;
					}
				}
				else
				{
					lastTransitionTick = xTaskGetTickCount(); // Reset the timer if the condition is no longer met
				}
				osThreadFlagsClear(PS_EVT_FLAG);

				if (isDebugModeEnabled && task_count >= 10)
				{
					usbDebug("Proximity value: %d\r\n", proximity_value);
					task_count = 0;
				}
			}
		}
		task_count += 1;
        osDelay(100);
	}
	/* USER CODE END StartPSensorTask */
}
#endif

#if ENABLE_TOUCH
#define I2C_LOCK_TIMEOUT_MS       200u
#define INIT_TOTAL_TIMEOUT_MS     2000u
#define POLL_INT_MS               10u

/* Edge-trigger state: avoid repeated PRESS_HOLD firing */
static iqs_gesture_e s_last_gesture = IQS_G_NONE;

static BaseType_t TakeI2C3LockWithLog(const char *tag, TickType_t to)
{
	BaseType_t ok = xSemaphoreTake(I2C3_Lock, to);

	if (ok != pdTRUE) {
		usbDebug("%s: I2C3_Lock TIMEOUT (%lu ms)\r\n",
		         tag,
		         (unsigned long)(to * portTICK_PERIOD_MS));
	}

	return ok;
}

static BaseType_t iqs_run_with_lock(const char *tag, TickType_t lock_to)
{
	if (TakeI2C3LockWithLog(tag, lock_to) != pdTRUE) {
		return pdFALSE;
	}

	IQS7211E_Run();
	i2c3TxUnblock();
	return pdTRUE;
}

static inline int rdy_level(void)
{
	return (HAL_GPIO_ReadPin(TOUCH_RDY_GPIO_Port, TOUCH_RDY_Pin) == GPIO_PIN_SET);
}

static const char *iqs_gesture_str(iqs_gesture_e g)
{
	switch (g) {
	case IQS_G_NONE:             return "NONE";
	case IQS_G_SINGLE_TAP:       return "SINGLE_TAP";
	case IQS_G_DOUBLE_TAP:       return "DOUBLE_TAP";
	case IQS_G_TRIPLE_TAP:       return "TRIPLE_TAP";
	case IQS_G_PRESS_HOLD:       return "PRESS_HOLD";
	case IQS_G_SWIPE_X_POS:      return "SWIPE_X_POS";
	case IQS_G_SWIPE_X_NEG:      return "SWIPE_X_NEG";
	case IQS_G_SWIPE_Y_POS:      return "SWIPE_Y_POS";
	case IQS_G_SWIPE_Y_NEG:      return "SWIPE_Y_NEG";
	default:                     return "UNKNOWN";
	}
}

static bool touchpad_event_to_button2_code(iqs_gesture_e g, uint8_t *code)
{
	if (code == NULL) {
		return false;
	}

	switch (g) {
	case IQS_G_SINGLE_TAP:
		*code = 0u;
		return true;
	case IQS_G_DOUBLE_TAP:
		*code = 1u;
		return true;
	case IQS_G_PRESS_HOLD:
		*code = 2u;
		return true;
	case IQS_G_SWIPE_X_POS:
		*code = 3u;
		return true;
	case IQS_G_SWIPE_X_NEG:
		*code = 4u;
		return true;
	default:
		return false;
	}
}

static void handle_iqs_gesture(iqs_gesture_e g)
{
	s_last_gesture = g;
}

static void TouchExtiEnable(void)
{
	HAL_NVIC_SetPriority(EXTI15_10_IRQn, 5, 0);
	HAL_NVIC_EnableIRQ(EXTI15_10_IRQn);
}

void StartTouchTask(void *argument)
{
	(void)argument;

	usbDebug("touch task start\r\n");

	TouchExtiEnable();
	usbDebug("EXTI15_10 enabled, RDY=%d\r\n", rdy_level());

	if (rdy_level() == 0) {
		xTaskNotifyGive(TouchTaskHandle);
		usbDebug("RDY already LOW, notify injected\r\n");
	}

	/* One-shot init */
	if (TakeI2C3LockWithLog("init.take", pdMS_TO_TICKS(I2C_LOCK_TIMEOUT_MS)) == pdTRUE) {
		HAL_StatusTypeDef st = IQS7211E_Init();

		usbDebug("IQS7211E_Init st=%d\r\n", (int)st);
		i2c3TxUnblock();
	}

	/* Bounded polling until RUN */
	if (IQS7211E_IsPresent()) {
		const TickType_t lock_to  = pdMS_TO_TICKS(I2C_LOCK_TIMEOUT_MS);
		const TickType_t poll_int = pdMS_TO_TICKS(POLL_INT_MS);
		const TickType_t init_to  = pdMS_TO_TICKS(INIT_TOTAL_TIMEOUT_MS);
		TickType_t start          = xTaskGetTickCount();
		TickType_t next_wake      = start;

		for (;;) {
			(void)iqs_run_with_lock("init.poll", lock_to);

			if (IQS7211E_GetState() == IQS_STATE_RUN) {
				usbDebug("IQS7211E init done (RUN)\r\n");
				break;
			}

			if ((TickType_t)(xTaskGetTickCount() - start) >= init_to) {
				usbDebug("IQS7211E init TIMEOUT, state=%d\r\n",
				         (int)IQS7211E_GetState());
				break;
			}

			vTaskDelayUntil(&next_wake, poll_int);
		}
	} else {
		usbDebug("IQS7211E not present\r\n");
	}

	/* Main loop */
	for (;;) {
		ulTaskNotifyTake(pdTRUE, portMAX_DELAY);

		if (!iqs_run_with_lock("evt", pdMS_TO_TICKS(I2C_LOCK_TIMEOUT_MS))) {
			usbDebug("evt: drop due to lock timeout\r\n");
			continue;
		}

		if (IQS7211E_HasNewData()) {
			iqs_gesture_e g = IQS7211E_GetGesture();

			if (g != IQS_G_NONE) {
				uint8_t button2_code = 0u;
				if (touchpad_event_to_button2_code(g, &button2_code)) {
					usbDebug("#button_2 %u@\r\n", (unsigned int)button2_code);
				} else {
					/* Controlled by Touchpad_OtherGesture_Log in main.c
					 * 0: disable original gesture log for non-#button_2 events
					 * 1: enable original gesture log
					 *
					 * Gestures controlled by this switch:
					 * - IQS_G_TRIPLE_TAP
					 * - IQS_G_SWIPE_Y_POS
					 * - IQS_G_SWIPE_Y_NEG
					 * - Unknown/other gestures not mapped to #button_2
					 */
					if (Touchpad_OtherGesture_Log != 0u) {
						usbDebug("gesture=%s (%d)\r\n", iqs_gesture_str(g), (int)g);
					}
				}
				handle_iqs_gesture(g);
			} else {
				s_last_gesture = IQS_G_NONE;
			}

			IQS7211E_ClearNewData();
		}
	}
}
#endif

#if ENABLE_ALS
void StartALSensorTask(void *argument)
{
	/* USER CODE BEGIN StartALSensorTask */
	static int current_lux_value = 0;
	static int target_panel_brightness = 0;
	static int current_lux_index = -3;
	static int previous_lux_index = -3;

	/* Infinite loop */
	for (;;)
	{
		uint32_t thread_event_flag = osThreadFlagsWait(ALS_EVT_FLAG, osFlagsNoClear, osWaitForever);
		if (thread_event_flag == ALS_EVT_FLAG)
		{
			if (xSemaphoreTake(I2C1_Lock, portMAX_DELAY) == pdTRUE)
			{
				AL3010_ReadData();
				i2c1TxUnblock();
				ALS_SendReport_HS();

				if (isAutoBrightnessEnabled)
				{
					if (ambientLight != current_lux_value)
					{
						current_lux_value = ambientLight;
						target_panel_brightness = mapLuxToPanelBrightness(current_lux_value, &current_lux_index);

						if (previous_lux_index != current_lux_index)
						{
							previous_lux_index = current_lux_index;
							if (isDebugModeEnabled)
							{
								usbDebug("Interval: %d\n", current_lux_index);
							}
						}
						smoothlyChangeBrightness(target_panel_brightness);
					}
				}
				osThreadFlagsClear(ALS_EVT_FLAG);
			}
		}
        osDelay(100);
	}
	/* USER CODE END StartALSensorTask */
}
#endif

#if ENABLE_ADC
void StartADCTask(void *argument)
{
	/* USER CODE BEGIN StartADCTask */
	TickType_t lastWakeUpTime = xTaskGetTickCount();

	/* Infinite loop */
	for (;;)
	{
		if (isPanelOn)
		{
			if (isDebugModeEnabled)
			{
				usbDebug("LeftOrigTemperature: %.2f\r\nRightOrigTemperature: %.2f\r\n",
						g_temperatureLeftRaw, g_temperatureRightRaw);
			}
			updatePanelTemperature();
			if (isDebugModeEnabled)
			{
				usbDebug("LeftTemperature: %.2f\r\nRightTemperature: %.2f\r\n",
						g_temperatureLeftSmoothed, g_temperatureRightSmoothed);
			}
		}

		vTaskDelayUntil(&lastWakeUpTime, pdMS_TO_TICKS(5000));
	}
	/* USER CODE END StartADCTask */
}
#endif

#if ENABLE_SCAN_I2C
void StartI2CScanTask(void *argument)
{
    /* USER CODE BEGIN StartI2CScanTask */
    uint8_t result;
    uint8_t deviceAddr;

    /* Infinite loop */
    for (;;)
    {
        for (uint16_t i = 1; i < 128; i++)
        {
            result = HAL_I2C_IsDeviceReady(&hi2c1, (i << 1), 3, 5);
            if (result == HAL_OK)
            {
                deviceAddr = (i << 1);
                usbDebug("I2C1: Ready deviceAddr: 0x[%02X]\r\n", deviceAddr);
                osDelay(20);
            }

            result = HAL_I2C_IsDeviceReady(&hi2c2, (i << 1), 3, 5);
            if (result == HAL_OK)
            {
                deviceAddr = (i << 1);
                usbDebug("I2C2: Ready deviceAddr: 0x[%02X]\r\n", deviceAddr);
                osDelay(20);
            }

            result = HAL_I2C_IsDeviceReady(&hi2c3, (i << 1), 3, 5);
            if (result == HAL_OK)
            {
                deviceAddr = (i << 1);
                usbDebug("I2C3: Ready deviceAddr: 0x[%02X]\r\n", deviceAddr);
                osDelay(20);
            }
        }
        osDelay(10000);
    }
    /* USER CODE END StartI2CScanTask */
}
#endif

void StartMainTask(void *argument)
{
	/* USER CODE BEGIN StartMainTask */
	Ecx343_data_init_default();
	osDelay(10);
	ECX343EN_Init();
	osDelay(1000);

#if ENABLE_TOF
	isrToFLock = xSemaphoreCreateBinary();
	/* creation of TofTask */
	TofTaskHandle = osThreadNew(StartTofTask, NULL, &TofTask_attributes);

	osThreadFlagsWait(0x02, osFlagsWaitAny, osWaitForever);
#endif

#if ENABLE_ALS
	AL3010_Init();
	osDelay(10);

	//Enable ALS Int
	HAL_NVIC_SetPriority(EXTI9_5_IRQn, 6, 0);
	HAL_NVIC_EnableIRQ(EXTI9_5_IRQn);

	/* creation of ALSensorTask */
	ALSensorTaskHandle = osThreadNew(StartALSensorTask, NULL, &ALSensorTask_attributes);
#endif

#if ENABLE_TOUCH
	TouchTaskHandle = osThreadNew(StartTouchTask, NULL, &TouchTask_attributes);
#endif

#if ENABLE_PANEL
	executeTaskWithMutex(POWER_ON, PANEL_BOTH);
	osDelay(10);
	isPanelOn = 1;
#else
	#if ENABLE_PS
		RPR0521_Init();
		osDelay(10);
		RPR0521_SetUp();
		osDelay(10);

		//Enable PS Int
		HAL_NVIC_SetPriority(EXTI0_IRQn, 6, 0);
		HAL_NVIC_EnableIRQ(EXTI0_IRQn);

		/* creation of PSensorTask */
		PSensorTaskHandle = osThreadNew(StartPSensorTask, NULL,	&PSensorTask_attributes);
	#endif
#endif

#if ENABLE_ADC
	/* creation of ADCTask */
	ADCTaskHandle = osThreadNew(StartADCTask, NULL, &ADCTask_attributes);
#endif

#if ENABLE_COUNTING_TASK
	CountingTaskHandle = osThreadNew(CountingTask, NULL, &CountingTask_attributes);
#endif

#if ENABLE_SCAN_I2C
	/* creation of I2CScanTask */
	I2CScanTaskHandle = osThreadNew(StartI2CScanTask, NULL, &I2CScanTask_attributes);
#endif

	ButtonClickType clickType = NO_CLICK;

	uint32_t startTime = osKernelGetTickCount();
	uint32_t lastHighTempTime = 0;

	uint8_t isEncEnable = 0;
	uint8_t isMicMute   = 0;
	/* Infinite loop */
	for (;;)
	{
		osDelay(20);

		if (encSwitch)
		{
        	isEncEnable = !isEncEnable;
			HAL_GPIO_WritePin(CM7001N_ENC_ENB_M_GPIO_Port, CM7001N_ENC_ENB_M_Pin, isEncEnable);
			usbDebug("Enc Enable: %d\r\n", isEncEnable);
			encSwitch = 0;
		}
		if (micSwitch)
		{
        	isMicMute = !isMicMute;
			HAL_GPIO_WritePin(CM6542_MIC_MUTE_M_GPIO_Port, CM6542_MIC_MUTE_M_Pin, isMicMute);
			usbDebug("Mic Mute: %d\r\n", isMicMute);
			micSwitch = 0;
		}
		if (alsSwitch)
		{
	    	usbDebug("ambientLight= %d \r\n", ambientLight);
		}

#if ENABLE_TOF_FORCE_RESET
		nTofGpioInts_1 += 1;
		if (nTofGpioInts_1 >= 10 && interruptTofEnable)
		{
			tofResetCount += 1;
			Tof_Hard_reset();
//    	    McuReset();
		}
		if (tof_resetFlag)
		{
			Tof_Hard_reset();
		}
#endif

		#define BUTTON_FUNC_MASK  (1u)

		static ButtonContext buttonFuncCtx;
		static bool buttonFuncCtxInit = false;

		if (!buttonFuncCtxInit) {
			Button_Init(&buttonFuncCtx);
			buttonFuncCtxInit = true;
		}

		clickType = Button_Update(&buttonFuncCtx,
															POWER_SW_KEY_GPIO_Port,
															POWER_SW_KEY_Pin);

		if (clickType != NO_CLICK) {
			ProcessButtonEvent(BUTTON_FUNC_MASK, &clickType);
		}

		if (!isPanelOn) continue;

		if(isHighTempBrightnessEnabled)
		{
			/* Reduce brightness to 3500 when the panel exceeds 70 degrees. */
			checkAndReduceBrightness(&startTime, &lastHighTempTime);
		}
	}
	/* USER CODE END StartMainTask */
}

/* USER CODE BEGIN Application */
/* Functions needed when configGENERATE_RUN_TIME_STATS is on */
__weak void configureTimerForRunTimeStats(void)
{
	ulHighFrequencyTimerTicks = 0;
	HAL_TIM_Base_Start_IT(&htim13);
}

__weak unsigned long getRunTimeCounterValue(void)
{
	return ulHighFrequencyTimerTicks;
}

void isrToFTaskTrigger(void)
{
	static BaseType_t xHigherPriorityTaskWoken;

	xHigherPriorityTaskWoken = pdFALSE;
	xSemaphoreGiveFromISR(isrToFLock, &xHigherPriorityTaskWoken);

	/* If xHigherPriorityTaskWoken was set to true we should yield. */
	portYIELD_FROM_ISR(xHigherPriorityTaskWoken);
}

static inline void i2c1TxBlock(void)
{
	xSemaphoreTake(I2C1_Lock, portMAX_DELAY);
}

static inline void i2c1TxUnblock(void)
{
	xSemaphoreGive(I2C1_Lock);
}

static inline void i2c3TxBlock(void)
{
	xSemaphoreTake(I2C3_Lock, portMAX_DELAY);
}

static inline void i2c3TxUnblock(void)
{
	xSemaphoreGive(I2C3_Lock);
}

void checkAndReduceBrightness(uint32_t *startTime, uint32_t *lastHighTempTime) {
	const uint8_t luxStep = 10;
	const uint16_t defaultLux = 250;
    const uint32_t checkInterval = 1000;
    const uint32_t highTempThresholdTime = 60000;
    static bool reduceBrightness = false;

    uint32_t currentTick = osKernelGetTickCount();

    if (!reduceBrightness && (currentTick - *startTime) <= checkInterval) {
        return;
    }

    if (!reduceBrightness) {
        *startTime = currentTick;

        bool tempTooHigh = g_temperatureLeftSmoothed > 70.0f || g_temperatureRightSmoothed > 70.0f;

        if (tempTooHigh) {
            if (*lastHighTempTime == 0) {
                *lastHighTempTime = currentTick;
            } else if ((currentTick - *lastHighTempTime) > highTempThresholdTime) {
                reduceBrightness = true;
            }
        } else {
            *lastHighTempTime = 0;
            return;
        }
    }

    bool brightnessReduced = false;

    if (ecx343_current_data.uLCD_LUXL > defaultLux) {
        ecx343_current_data.uLCD_LUXL -= luxStep;
        brightnessReduced = true;
    }

    if (ecx343_current_data.uLCD_LUXR > defaultLux) {
        ecx343_current_data.uLCD_LUXR -= luxStep;
        brightnessReduced = true;
    }

    if (brightnessReduced) {
        isAutoBrightnessEnabled = 0;
        executeTaskWithMutex(ADJUST_BRIGHTNESS);
    }

    if (ecx343_current_data.uLCD_LUXL <= defaultLux && ecx343_current_data.uLCD_LUXR <= defaultLux) {
        reduceBrightness = false;
    }
}

void ResetTof(void)
{
	uint8_t isAlive, status;

	Dev.platform.address = VL53L8CX_DEFAULT_I2C_ADDRESS;

	VL53L8CX_Reset_Sensor(&(Dev.platform));

	while (1)
	{
		status = vl53l8cx_is_alive(&Dev, &isAlive);
		if (!isAlive)
		{
//        	usbDebug("VL53L8CX not detected at requested address (0x%x) \r\n", Dev.platform.address);
			VL53L8CX_Reset_Sensor(&(Dev.platform));
			vTaskDelay(pdMS_TO_TICKS(500));
		}
		else
			break;
	}
//	usbDebug("Sensor initializing, please wait few seconds \r\n");
	status = vl53l8cx_init(&Dev);
	status = vl53l8cx_set_resolution(&Dev, VL53L8CX_RESOLUTION_8X8);
	status = vl53l8cx_set_ranging_frequency_hz(&Dev, 15);
	status = vl53l8cx_set_target_order(&Dev, VL53L8CX_TARGET_ORDER_CLOSEST);
	status = vl53l8cx_set_ranging_mode(&Dev, VL53L8CX_RANGING_MODE_CONTINUOUS); // Set mode continuous

//	usbDebug("Ranging starts \r\n");
	status = vl53l8cx_start_ranging(&Dev);

	nExecs_IsrToF = 0;
//	usbDebug("Ranging status:%d \r\n", status);
//	HAL_NVIC_SetPriority(EXTI1_IRQn, 5, 0);
//	HAL_NVIC_EnableIRQ(EXTI1_IRQn);
	osThreadFlagsSet(MainTaskHandle, 0x02);
}

#if ENABLE_TOF
void Tof_Hard_reset(void)
{
	HAL_NVIC_DisableIRQ(EXTI1_IRQn);
	xSemaphoreGive(isrToFLock);
	xSemaphoreTake(isrToFLock, portMAX_DELAY);
//    osDelay(2000);

	I2C2_SoftwareReset();
	ResetTof();
	tof_resetFlag = 0;
	nTofGpioInts_1 = 0;
	osDelay(20);
	HAL_NVIC_SetPriority(EXTI1_IRQn, 5, 0);
	HAL_NVIC_EnableIRQ(EXTI1_IRQn);
}
#endif

void CountingTask(void *argument)
{
	TickType_t countingTaskLastWakeUpTime = xTaskGetTickCount();

    for (;;)
    {
        usbDebug("HID ALS only, IMU HID path disabled\r\n");
        usbDebug("USB TOTAL: %d FAIL: %d BUSY: %d\r\n", nIMUHIDUsbOuts, nUsbfailed, nUsbBusy);
        nIMUHIDUsbOuts = nUsbfailed = nUsbBusy = 0;
		vTaskDelayUntil(&countingTaskLastWakeUpTime, pdMS_TO_TICKS(5000));
    }
}
/* USER CODE END Application */
